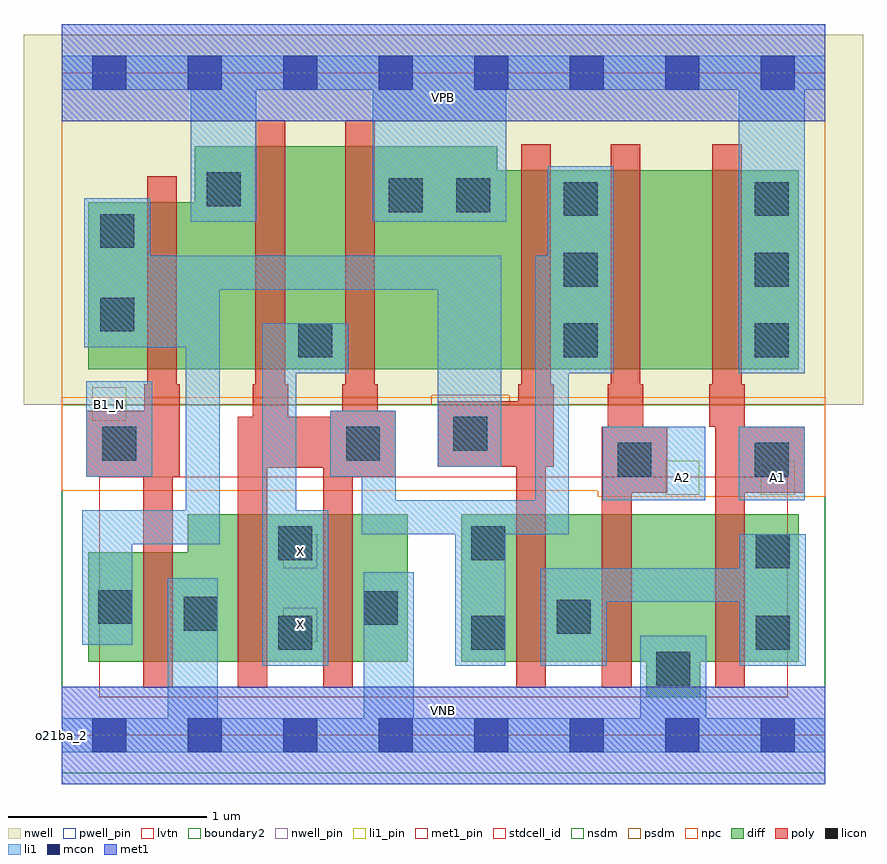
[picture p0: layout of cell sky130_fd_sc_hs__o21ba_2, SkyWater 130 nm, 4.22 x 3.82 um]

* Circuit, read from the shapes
.subckt sky130_fd_sc_hs__o21ba_2 A1 A2 B1_N VGND VNB VPB VPWR X
XM1 VGND B1_N n1 VNB sky130_fd_pr__nfet_01v8_lvt w=0.55 l=0.15
XM2 X n2 VGND VNB sky130_fd_pr__nfet_01v8_lvt w=0.74 l=0.15 m=2
XM3 n3 n1 n2 VNB sky130_fd_pr__nfet_01v8_lvt w=0.74 l=0.15
XM4 VGND A2 n3 VNB sky130_fd_pr__nfet_01v8_lvt w=0.74 l=0.15
XM5 n3 A1 VGND VNB sky130_fd_pr__nfet_01v8_lvt w=0.74 l=0.15
XM6 VPWR B1_N n1 VPB sky130_fd_pr__pfet_01v8 w=0.84 l=0.15
XM7 X n2 VPWR VPB sky130_fd_pr__pfet_01v8 w=1.12 l=0.15 m=2
XM8 n2 n1 VPWR VPB sky130_fd_pr__pfet_01v8 w=1 l=0.15
XM9 n4 A2 n2 VPB sky130_fd_pr__pfet_01v8 w=1 l=0.15
XM10 VPWR A1 n4 VPB sky130_fd_pr__pfet_01v8 w=1 l=0.15
.ends

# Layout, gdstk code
import gdstk
lib = gdstk.Library(unit=1e-6, precision=1e-09)
def R(c, l, rs):  # rectangles x0, y0, x1, y1
    for r in rs: c.add(gdstk.rectangle(r[:2], r[2:], *l))
def A(c, l, x, y, w, h, nx, ny, dx, dy):  # array of equal rectangles
    R(c, l, [(x+i*dx, y+j*dy, x+i*dx+w, y+j*dy+h) for i in range(nx) for j in range(ny)])
def P(c, l, *ps):  # polygons
    for p in ps: c.add(gdstk.Polygon(p, *l))
nwell_pin = (64, 16)
nwell = (64, 20)
diff = (65, 20)
poly = (66, 20)
licon = (66, 44)
li1_pin = (67, 16)
li1 = (67, 20)
mcon = (67, 44)
met1_pin = (68, 16)
met1 = (68, 20)
stdcell_id = (81, 4)
nsdm = (93, 44)
psdm = (94, 20)
npc = (95, 20)
pwell_pin = (122, 16)
lvtn = (125, 44)
boundary2 = (236, 0)

sky130_fd_sc_hs__o21ba_2 = lib.new_cell('sky130_fd_sc_hs__o21ba_2')
R(sky130_fd_sc_hs__o21ba_2, nwell_pin, [(0,3.085,3.84,3.33)])
R(sky130_fd_sc_hs__o21ba_2, nwell, [(-0.19,1.66,4.03,3.52)])
P(sky130_fd_sc_hs__o21ba_2, diff, [(1.74,1.11),(0.635,1.11),(0.635,0.92),(0.135,0.92),(0.135,0.37),(1.74,0.37)],
  [(3.705,2.84),(2.19,2.84),(2.19,2.96),(0.67,2.96),(0.67,2.68),(0.135,2.68),(0.135,1.84),(3.705,1.84)],
  [(3.705,1.11),(2.01,1.11),(2.01,0.37),(2.94,0.37),(2.94,0.19),(3.21,0.19),(3.21,0.37),(3.705,0.37)])
P(sky130_fd_sc_hs__o21ba_2, poly, [(3.735,1.55),(3.435,1.55),(3.435,1.765),(3.42,1.765),(3.42,2.97),(3.27,2.97),(3.27,1.765),(3.255,1.765),(3.255,1.55),(3.285,1.55),(3.285,0.24),(3.435,0.24),(3.435,1.22),(3.735,1.22)],
  [(3.045,1.55),(2.925,1.55),(2.925,1.765),(2.91,1.765),(2.91,2.97),(2.76,2.97),(2.76,1.765),(2.745,1.765),(2.745,1.55),(2.715,1.55),(2.715,0.24),(2.865,0.24),(2.865,1.22),(3.045,1.22)],
  [(2.475,1.765),(2.46,1.765),(2.46,2.97),(2.31,2.97),(2.31,1.765),(2.295,1.765),(2.295,1.68),(1.89,1.68),(1.89,1.35),(2.285,1.35),(2.285,0.24),(2.435,0.24),(2.435,1.35),(2.475,1.35)],
  [(1.68,1.63),(1.59,1.63),(1.59,1.765),(1.575,1.765),(1.575,3.09),(1.425,3.09),(1.425,1.765),(1.41,1.765),(1.41,1.63),(1.35,1.63),(1.35,1.6),(1.14,1.6),(1.14,1.765),(1.125,1.765),(1.125,3.09),(0.975,3.09),(0.975,1.765),(0.96,1.765),(0.96,1.6),(0.885,1.6),(0.885,0.24),(1.035,0.24),(1.035,1.345),(1.315,1.345),(1.315,0.24),(1.465,0.24),(1.465,1.3),(1.68,1.3)],
  [(0.595,1.765),(0.58,1.765),(0.58,2.81),(0.43,2.81),(0.43,1.765),(0.415,1.765),(0.415,1.63),(0.125,1.63),(0.125,1.3),(0.41,1.3),(0.41,0.24),(0.56,0.24),(0.56,1.3),(0.595,1.3)])
A(sky130_fd_sc_hs__o21ba_2, licon, 2.525, 1.9, 0.17, 0.17, 1, 3, 0, 0.355)
A(sky130_fd_sc_hs__o21ba_2, licon, 3.485, 1.9, 0.17, 0.17, 1, 3, 0, 0.355)
R(sky130_fd_sc_hs__o21ba_2, licon, [(2.99,0.25,3.16,0.42), (1.09,0.43,1.26,0.6), (2.06,0.43,2.23,0.6), (3.49,0.43,3.66,0.6), (2.49,0.51,2.66,0.68), (0.615,0.525,0.785,0.695), (1.52,0.555,1.69,0.725), (0.185,0.56,0.355,0.73), (3.49,0.84,3.66,1.01), (1.09,0.88,1.26,1.05), (2.06,0.88,2.23,1.05), (2.795,1.3,2.965,1.47), (3.485,1.3,3.655,1.47), (0.205,1.38,0.375,1.55), (1.43,1.38,1.6,1.55), (1.97,1.43,2.14,1.6), (1.19,1.9,1.36,2.07), (0.195,2.03,0.365,2.2), (0.195,2.45,0.365,2.62), (1.645,2.63,1.815,2.8), (1.985,2.63,2.155,2.8), (0.73,2.66,0.9,2.83)])
R(sky130_fd_sc_hs__o21ba_2, li1_pin, [(1.115,0.47,1.285,0.64), (1.115,0.84,1.285,1.01), (3.035,1.21,3.205,1.38), (3.515,1.21,3.685,1.38), (0.155,1.58,0.325,1.75)])
R(sky130_fd_sc_hs__o21ba_2, li1, [(2.72,1.18,3.235,1.55), (3.405,1.18,3.735,1.55), (0.125,1.3,0.455,1.78)])
P(sky130_fd_sc_hs__o21ba_2, li1, [(0,-0.085),(0,0.085),(0.535,0.085),(0.535,0.79),(0.785,0.79),(0.785,0.085),(1.52,0.085),(1.52,0.82),(1.77,0.82),(1.77,0.085),(2.91,0.085),(2.91,0.5),(3.24,0.5),(3.24,0.085),(3.84,0.085),(3.84,-0.085)],
  [(0,3.245),(0,3.415),(3.84,3.415),(3.84,3.245),(3.735,3.245),(3.735,1.82),(3.405,1.82),(3.405,3.245),(2.235,3.245),(2.235,2.58),(1.565,2.58),(1.565,3.245),(0.98,3.245),(0.98,2.58),(0.65,2.58),(0.65,3.245)],
  [(1.01,0.35),(1.01,2.07),(1.44,2.07),(1.44,1.82),(1.18,1.82),(1.18,1.13),(1.34,1.13),(1.34,0.35)],
  [(0.115,1.95),(0.115,2.7),(0.445,2.7),(0.445,2.41),(2.21,2.41),(2.21,1.35),(1.89,1.35),(1.89,2.24),(0.795,2.24),(0.795,0.96),(0.355,0.96),(0.355,0.455),(0.105,0.455),(0.105,1.13),(0.625,1.13),(0.625,1.95)],
  [(2.775,2.86),(2.445,2.86),(2.445,2.41),(2.38,2.41),(2.38,1.18),(1.68,1.18),(1.68,1.63),(1.35,1.63),(1.35,1.3),(1.51,1.3),(1.51,1.01),(1.98,1.01),(1.98,0.35),(2.23,0.35),(2.23,1.01),(2.55,1.01),(2.55,1.82),(2.775,1.82)],
  [(3.41,0.35),(3.41,0.67),(2.74,0.67),(2.74,0.35),(2.41,0.35),(2.41,0.84),(3.41,0.84),(3.41,1.01),(3.74,1.01),(3.74,0.35)])
A(sky130_fd_sc_hs__o21ba_2, mcon, 0.155, -0.085, 0.17, 0.17, 8, 2, 0.48, 3.33)
R(sky130_fd_sc_hs__o21ba_2, met1_pin, [(0,0,3.84,0.245), (0,3.085,3.84,3.33)])
R(sky130_fd_sc_hs__o21ba_2, met1, [(0,-0.245,3.84,0.245), (0,3.085,3.84,3.575)])
R(sky130_fd_sc_hs__o21ba_2, stdcell_id, [(0,0,3.84,3.33)])
R(sky130_fd_sc_hs__o21ba_2, nsdm, [(0,-0.19,3.84,1.66)])
P(sky130_fd_sc_hs__o21ba_2, psdm, [(3.84,3.52),(0,3.52),(0,1.66),(1.86,1.66),(1.86,1.71),(2.25,1.71),(2.25,1.66),(3.84,1.66)])
P(sky130_fd_sc_hs__o21ba_2, npc, [(3.84,1.7),(0,1.7),(0,1.23),(2.695,1.23),(2.695,1.2),(3.84,1.2)])
R(sky130_fd_sc_hs__o21ba_2, pwell_pin, [(0,0,3.84,0.245)])
R(sky130_fd_sc_hs__o21ba_2, lvtn, [(0.19,0.19,3.65,1.3)])
R(sky130_fd_sc_hs__o21ba_2, boundary2, [(0,0,3.84,3.33)])
sky130_fd_sc_hs__o21ba_2.add(gdstk.Label('o21ba_2', (0,0), layer=83, texttype=44))
sky130_fd_sc_hs__o21ba_2.add(gdstk.Label('VNB', (1.92,0.123), layer=64, texttype=59))
sky130_fd_sc_hs__o21ba_2.add(gdstk.Label('VPB', (1.92,3.208), layer=64, texttype=5))
sky130_fd_sc_hs__o21ba_2.add(gdstk.Label('VPWR', (1.92,3.208), layer=68, texttype=5))
sky130_fd_sc_hs__o21ba_2.add(gdstk.Label('VGND', (1.92,0.123), layer=68, texttype=5))
sky130_fd_sc_hs__o21ba_2.add(gdstk.Label('A1', (3.6,1.295), layer=67, texttype=5))
sky130_fd_sc_hs__o21ba_2.add(gdstk.Label('X', (1.2,0.555), layer=67, texttype=5))
sky130_fd_sc_hs__o21ba_2.add(gdstk.Label('X', (1.2,0.925), layer=67, texttype=5))
sky130_fd_sc_hs__o21ba_2.add(gdstk.Label('A2', (3.12,1.295), layer=67, texttype=5))
sky130_fd_sc_hs__o21ba_2.add(gdstk.Label('B1_N', (0.24,1.665), layer=67, texttype=5))

lib.write_gds('sky130_fd_sc_hs__o21ba_2.gds')
